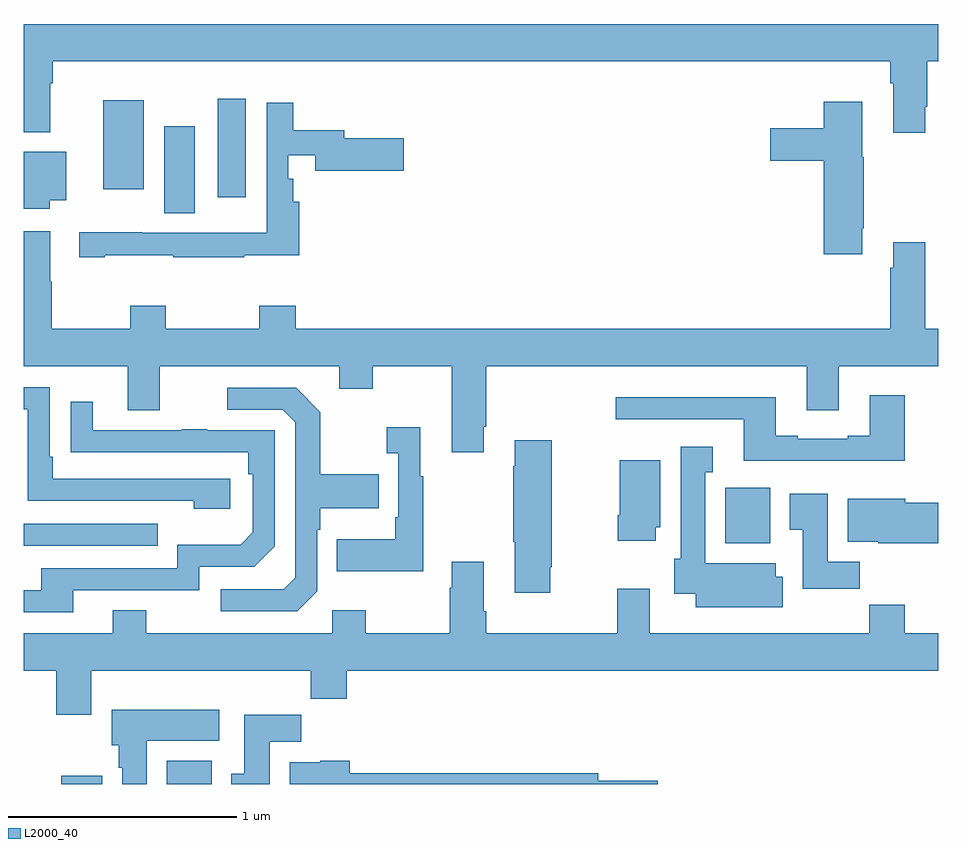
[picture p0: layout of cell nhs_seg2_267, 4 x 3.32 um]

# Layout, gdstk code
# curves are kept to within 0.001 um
import gdstk
lib = gdstk.Library(unit=1e-6, precision=1e-09)
def R(c, l, rs):  # rectangles x0, y0, x1, y1
    for r in rs: c.add(gdstk.rectangle(r[:2], r[2:], *l))
def P(c, l, *ps):  # polygons
    for p in ps: c.add(gdstk.Polygon(p, *l))
L2000_40 = (2000, 40)

nhs_seg2_267 = lib.new_cell('nhs_seg2_267')
R(nhs_seg2_267, L2000_40, [(123.164,653.8,123.343,653.836), (123.626,653.8,123.823,653.902), (123,654.843,123.587,654.939), (126.068,654.854,126.265,655.096), (123.614,656.296,123.748,656.677), (123.848,656.367,123.97,656.797), (123.347,656.402,123.526,656.791)])
P(nhs_seg2_267, L2000_40, [(126.943,656.761),(126.951,656.761),(126.951,656.96),(127,656.96),(127,657.124),(123,657.124),(123,656.651),(123.115,656.651),(123.115,656.864),(123.128,656.864),(123.128,656.96),(126.791,656.96),(126.791,656.864),(126.803,656.864),(126.803,656.649),(126.943,656.649)],
  [(126.667,656.23),(126.675,656.23),(126.675,656.541),(126.667,656.541),(126.667,656.785),(126.5,656.785),(126.5,656.667),(126.264,656.667),(126.264,656.525),(126.5,656.525),(126.5,656.118),(126.667,656.118)],
  [(123.355,656.113),(123.655,656.113),(123.655,656.103),(123.965,656.103),(123.965,656.113),(124.205,656.113),(124.205,656.347),(124.178,656.347),(124.178,656.448),(124.158,656.448),(124.158,656.549),(124.274,656.549),(124.274,656.483),(124.663,656.483),(124.663,656.625),(124.402,656.625),(124.402,656.659),(124.178,656.659),(124.178,656.779),(124.062,656.779),(124.062,656.212),(123.852,656.212),(123.852,656.211),(123.518,656.211),(123.518,656.213),(123.243,656.213),(123.243,656.103),(123.355,656.103)],
  [(123.113,656.354),(123.187,656.354),(123.187,656.566),(123,656.566),(123,656.315),(123.113,656.315)],
  [(125.011,655.363),(125.024,655.363),(125.024,655.628),(126.425,655.628),(126.425,655.434),(126.565,655.434),(126.565,655.628),(127,655.628),(127,655.792),(126.943,655.792),(126.943,656.17),(126.803,656.17),(126.803,656.057),(126.791,656.057),(126.791,655.792),(124.19,655.792),(124.19,655.891),(124.03,655.891),(124.03,655.792),(123.621,655.792),(123.621,655.891),(123.466,655.891),(123.466,655.792),(123.123,655.792),(123.123,655.997),(123.115,655.997),(123.115,656.218),(123,656.218),(123,655.628),(123.455,655.628),(123.455,655.434),(123.595,655.434),(123.595,655.628),(124.379,655.628),(124.379,655.529),(124.527,655.529),(124.527,655.628),(124.871,655.628),(124.871,655.251),(125.011,655.251)],
  [(123.904,655.134),(123.127,655.134),(123.127,655.231),(123.114,655.231),(123.114,655.536),(123,655.536),(123,655.44),(123.018,655.44),(123.018,655.038),(123.743,655.038),(123.743,655.004),(123.904,655.004)],
  [(124.284,654.642),(124.284,654.911),(124.297,654.911),(124.297,655.007),(124.553,655.007),(124.553,655.155),(124.297,655.155),(124.297,655.427),(124.191,655.533),(123.891,655.533),(123.891,655.437),(124.134,655.437),(124.188,655.383),(124.188,654.702),(124.137,654.651),(123.861,654.651),(123.861,654.555),(124.197,654.555)],
  [(126.854,655.501),(126.701,655.501),(126.701,655.324),(126.605,655.324),(126.605,655.311),(126.385,655.311),(126.385,655.324),(126.289,655.324),(126.289,655.492),(125.589,655.492),(125.589,655.395),(126.149,655.395),(126.149,655.214),(126.854,655.214)],
  [(123.217,654.648),(123.768,654.648),(123.768,654.75),(124.008,654.75),(124.098,654.84),(124.098,655.347),(123.803,655.347),(123.803,655.352),(123.691,655.352),(123.691,655.347),(123.301,655.347),(123.301,655.471),(123.205,655.471),(123.205,655.252),(123.982,655.251),(123.982,655.154),(124.002,655.154),(124.002,654.9),(123.949,654.847),(123.672,654.847),(123.672,654.744),(123.077,654.744),(123.077,654.648),(123,654.648),(123,654.552),(123.217,654.552)],
  [(124.747,655.147),(124.735,655.147),(124.735,655.36),(124.587,655.36),(124.587,655.247),(124.638,655.247),(124.638,654.967),(124.626,654.967),(124.626,654.871),(124.369,654.871),(124.369,654.731),(124.747,654.731)],
  [(125.302,654.748),(125.31,654.748),(125.31,655.303),(125.147,655.303),(125.147,655.19),(125.14,655.19),(125.14,654.859),(125.147,654.859),(125.147,654.636),(125.302,654.636)],
  [(126.319,654.707),(126.289,654.707),(126.289,654.766),(125.98,654.766),(125.98,655.163),(126.013,655.163),(126.013,655.276),(125.873,655.276),(125.873,654.786),(125.846,654.786),(125.846,654.632),(125.939,654.632),(125.939,654.572),(126.319,654.572)],
  [(125.764,654.924),(125.785,654.924),(125.785,655.216),(125.606,655.216),(125.606,654.976),(125.599,654.976),(125.599,654.864),(125.764,654.864)],
  [(126.656,654.772),(126.517,654.772),(126.517,655.069),(126.35,655.069),(126.35,654.913),(126.407,654.913),(126.407,654.654),(126.656,654.654)],
  [(127,655.031),(126.856,655.031),(126.856,655.048),(126.605,655.048),(126.605,654.86),(126.738,654.86),(126.738,654.854),(127,654.854)],
  [(123.295,654.296),(124.255,654.296),(124.255,654.172),(124.412,654.172),(124.412,654.296),(127,654.296),(127,654.46),(126.854,654.46),(126.854,654.584),(126.697,654.584),(126.697,654.46),(125.737,654.46),(125.737,654.655),(125.597,654.655),(125.597,654.46),(125.024,654.46),(125.024,654.556),(125.011,654.556),(125.011,654.772),(124.871,654.772),(124.871,654.659),(124.864,654.659),(124.864,654.46),(124.497,654.46),(124.497,654.559),(124.35,654.559),(124.35,654.46),(123.537,654.46),(123.537,654.559),(123.389,654.559),(123.389,654.46),(123,654.46),(123,654.296),(123.143,654.296),(123.143,654.102),(123.295,654.102)],
  [(123.538,653.99),(123.856,653.99),(123.856,654.124),(123.386,654.124),(123.386,653.97),(123.416,653.97),(123.416,653.87),(123.431,653.87),(123.431,653.8),(123.538,653.8)],
  [(124.075,653.984),(124.214,653.984),(124.214,654.103),(123.965,654.103),(123.965,653.844),(123.908,653.844),(123.908,653.8),(124.075,653.8)],
  [(125.773,653.814),(125.512,653.814),(125.512,653.848),(124.427,653.848),(124.427,653.902),(124.296,653.902),(124.296,653.896),(124.163,653.896),(124.163,653.8),(125.773,653.8)])

lib.write_gds('nhs_seg2_267.gds')
